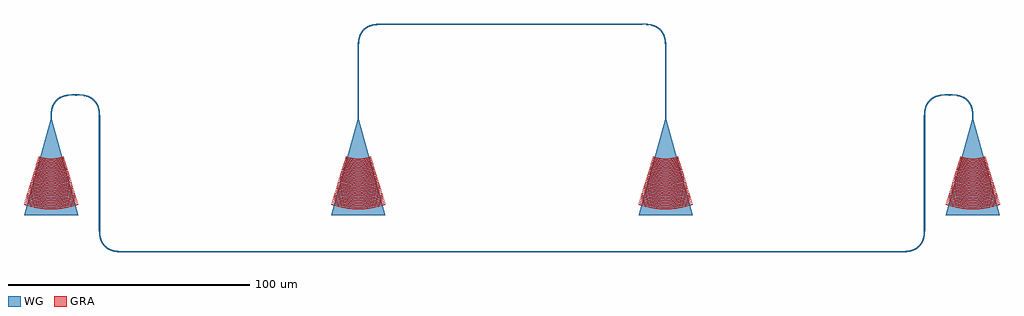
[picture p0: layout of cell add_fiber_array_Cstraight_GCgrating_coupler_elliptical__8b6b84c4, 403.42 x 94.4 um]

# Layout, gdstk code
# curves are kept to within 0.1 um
from math import pi, radians
import gdstk
lib = gdstk.Library(unit=1e-6, precision=1e-09)
def R(c, l, rs):  # rectangles x0, y0, x1, y1
    for r in rs: c.add(gdstk.rectangle(r[:2], r[2:], *l))
def P(c, l, *ps):  # polygons
    for p in ps: c.add(gdstk.Polygon(p, *l))
WG = (3, 0)
GRA = (6, 0)

straight_l10_csstrip_cba = lib.new_cell('straight_L10_CSstrip_cband_WNone_N2')
R(straight_l10_csstrip_cba, WG, [(0,-0.225,10,0.225)])

grating_coupler_elliptic = lib.new_cell('grating_coupler_elliptical_W1p55_GLW0p35_CSstrip_cband')
P(grating_coupler_elliptic, WG, [(41.05,-11.171),(1.3,-0.225),(1.3,0.225),(41.05,11.171)])
P(grating_coupler_elliptic, GRA, [(16.878,-5.26),(16.757,-5.1),(17.151,-3.825),(17.473,-2.258),(17.595,-1.199),(17.642,-0.134),(17.614,0.933),(17.511,1.994),(17.216,3.566),(16.757,5.1),(16.878,5.26),(17.073,5.21),(17.404,4.172),(17.661,3.113),(17.905,1.496),(17.976,0.136),(17.905,-1.496),(17.661,-3.113),(17.404,-4.172),(17.073,-5.21)],
  [(17.529,-5.459),(17.408,-5.299),(17.817,-3.974),(18.151,-2.346),(18.278,-1.245),(18.326,-0.139),(18.298,0.969),(18.151,2.346),(17.817,3.974),(17.408,5.299),(17.529,5.459),(17.724,5.409),(18.067,4.331),(18.334,3.231),(18.587,1.553),(18.662,0.141),(18.587,-1.553),(18.334,-3.231),(18.067,-4.331),(17.724,-5.409)],
  [(18.179,-5.657),(18.058,-5.497),(18.483,-4.122),(18.829,-2.433),(18.961,-1.292),(19.012,-0.144),(18.982,1.005),(18.87,2.149),(18.553,3.843),(18.058,5.497),(18.179,5.657),(18.374,5.607),(18.73,4.49),(19.007,3.35),(19.27,1.61),(19.347,0.146),(19.27,-1.61),(19.007,-3.35),(18.73,-4.49),(18.374,-5.607)],
  [(18.83,-5.855),(18.709,-5.695),(19.149,-4.271),(19.508,-2.521),(19.644,-1.339),(19.696,-0.149),(19.666,1.042),(19.508,2.521),(19.149,4.271),(18.709,5.695),(18.83,5.855),(19.025,5.805),(19.393,4.648),(19.68,3.468),(19.952,1.667),(20.032,0.151),(19.952,-1.667),(19.68,-3.468),(19.393,-4.648),(19.025,-5.805)],
  [(19.481,-6.053),(19.36,-5.893),(19.89,-4.121),(20.186,-2.609),(20.328,-1.385),(20.382,-0.155),(20.328,1.385),(20.186,2.609),(19.89,4.121),(19.36,5.893),(19.481,6.053),(19.676,6.003),(20.056,4.807),(20.353,3.587),(20.634,1.724),(20.716,0.157),(20.634,-1.724),(20.353,-3.587),(20.056,-4.807),(19.676,-6.003)],
  [(20.131,-6.252),(20.01,-6.092),(20.481,-4.568),(20.865,-2.697),(21.011,-1.432),(21.066,-0.16),(21.011,1.432),(20.865,2.697),(20.481,4.568),(20.01,6.092),(20.131,6.252),(20.326,6.202),(20.72,4.966),(21.026,3.705),(21.316,1.781),(21.402,0.162),(21.316,-1.781),(21.026,-3.705),(20.72,-4.966),(20.326,-6.202)],
  [(20.782,-6.45),(20.661,-6.29),(21.227,-4.397),(21.543,-2.785),(21.694,-1.478),(21.752,-0.164),(21.694,1.478),(21.543,2.785),(21.227,4.397),(20.661,6.29),(20.782,6.45),(20.977,6.4),(21.383,5.125),(21.699,3.824),(21.999,1.838),(22.086,0.168),(21.999,-1.838),(21.699,-3.824),(21.383,-5.125),(20.977,-6.4)],
  [(21.432,-6.648),(21.311,-6.488),(21.812,-4.866),(22.222,-2.872),(22.377,-1.525),(22.436,-0.17),(22.401,1.187),(22.222,2.872),(21.812,4.866),(21.311,6.488),(21.432,6.648),(21.627,6.598),(21.741,6.274),(22.046,5.283),(22.372,3.942),(22.681,1.895),(22.772,0.172),(22.681,-1.895),(22.372,-3.942),(22.046,-5.283),(21.741,-6.274),(21.627,-6.598)],
  [(22.083,-6.847),(21.962,-6.687),(22.478,-5.015),(22.9,-2.96),(23.06,-1.572),(23.122,-0.175),(23.085,1.223),(22.9,2.96),(22.478,5.015),(21.962,6.687),(22.083,6.847),(22.278,6.797),(22.395,6.462),(22.802,5.099),(23.044,4.06),(23.363,1.952),(23.456,0.177),(23.363,-1.952),(23.113,-3.711),(22.802,-5.099),(22.395,-6.462),(22.278,-6.797)],
  [(22.733,-7.045),(22.612,-6.885),(23.232,-4.814),(23.578,-3.048),(23.743,-1.618),(23.806,-0.18),(23.769,1.259),(23.578,3.048),(23.232,4.814),(22.612,6.885),(22.733,7.045),(22.928,6.995),(23.049,6.651),(23.468,5.247),(23.717,4.179),(24.045,2.009),(24.142,0.182),(24.045,-2.009),(23.788,-3.82),(23.558,-4.892),(23.163,-6.303),(22.928,-6.995)],
  [(23.384,-7.243),(23.263,-7.083),(23.81,-5.312),(24.257,-3.136),(24.426,-1.665),(24.491,-0.186),(24.453,1.295),(24.257,3.136),(23.81,5.312),(23.263,7.083),(23.384,7.243),(23.579,7.193),(23.703,6.839),(24.134,5.396),(24.39,4.297),(24.728,2.066),(24.826,0.188),(24.728,-2.066),(24.463,-3.928),(24.226,-5.031),(23.82,-6.481),(23.579,-7.193)],
  [(24.035,-7.441),(23.914,-7.281),(24.476,-5.461),(24.876,-3.599),(25.11,-1.711),(25.176,-0.19),(25.137,1.332),(24.935,3.224),(24.569,5.092),(23.914,7.281),(24.035,7.441),(24.23,7.391),(24.357,7.028),(24.8,5.545),(25.063,4.416),(25.41,2.122),(25.512,0.194),(25.41,-2.122),(25.138,-4.036),(24.895,-5.17),(24.478,-6.66),(24.23,-7.391)],
  [(24.685,-7.64),(24.564,-7.48),(25.142,-5.61),(25.614,-3.311),(25.793,-1.758),(25.862,-0.196),(25.793,1.758),(25.614,3.311),(25.142,5.61),(24.564,7.48),(24.685,7.64),(24.88,7.59),(25.011,7.216),(25.466,5.694),(25.736,4.534),(26.092,2.179),(26.196,0.198),(26.127,-1.784),(25.813,-4.144),(25.466,-5.694),(25.135,-6.839),(24.88,-7.59)],
  [(25.336,-7.838),(25.215,-7.678),(25.808,-5.758),(26.292,-3.399),(26.476,-1.805),(26.546,-0.201),(26.476,1.805),(26.292,3.399),(25.808,5.758),(25.215,7.678),(25.336,7.838),(25.531,7.788),(25.665,7.405),(26.132,5.842),(26.409,4.653),(26.731,2.641),(26.882,0.203),(26.81,-1.831),(26.488,-4.253),(26.132,-5.842),(25.792,-7.017),(25.531,-7.788)],
  [(25.986,-8.036),(25.865,-7.876),(26.474,-5.907),(26.906,-3.894),(27.123,-2.261),(27.232,-0.206),(27.159,1.851),(26.97,3.487),(26.474,5.907),(25.865,7.876),(25.986,8.036),(26.181,7.986),(26.319,7.593),(26.798,5.991),(27.082,4.771),(27.457,2.293),(27.566,0.208),(27.457,-2.293),(27.163,-4.361),(26.9,-5.586),(26.449,-7.196),(26.181,-7.986)],
  [(26.637,-8.235),(26.516,-8.075),(27.139,-6.056),(27.583,-3.992),(27.805,-2.318),(27.916,-0.212),(27.872,1.477),(27.649,3.575),(27.427,4.821),(27.139,6.056),(26.516,8.075),(26.637,8.235),(26.832,8.185),(26.973,7.782),(27.463,6.14),(27.755,4.889),(27.981,3.625),(28.139,2.35),(28.252,0.214),(28.229,-1.069),(28.139,-2.35),(27.838,-4.469),(27.568,-5.725),(27.106,-7.374),(26.832,-8.185)],
  [(27.288,-8.433),(27.167,-8.273),(27.805,-6.204),(28.259,-4.09),(28.487,-2.375),(28.602,-0.216),(28.556,1.513),(28.327,3.663),(27.911,5.784),(27.571,7.038),(27.167,8.273),(27.288,8.433),(27.483,8.383),(27.627,7.97),(28.129,6.288),(28.428,5.008),(28.659,3.713),(28.821,2.407),(28.936,0.22),(28.913,-1.095),(28.821,-2.407),(28.513,-4.577),(28.237,-5.864),(27.764,-7.553),(27.483,-8.383)],
  [(27.938,-8.631),(27.817,-8.471),(28.471,-6.353),(28.936,-4.188),(29.208,-1.991),(29.286,-0.221),(29.24,1.549),(29.006,3.75),(28.773,5.058),(28.471,6.353),(27.817,8.471),(27.938,8.631),(28.133,8.581),(28.281,8.159),(28.678,6.871),(29.101,5.126),(29.338,3.8),(29.503,2.464),(29.622,0.225),(29.597,-1.121),(29.503,-2.464),(29.188,-4.686),(28.905,-6.002),(28.421,-7.732),(28.133,-8.581)],
  [(28.589,-8.829),(28.468,-8.669),(29.137,-6.502),(29.613,-4.286),(29.892,-2.038),(29.972,-0.227),(29.892,2.038),(29.684,3.838),(29.248,6.062),(28.893,7.375),(28.468,8.669),(28.589,8.829),(28.784,8.779),(28.935,8.347),(29.341,7.03),(29.774,5.245),(30.016,3.888),(30.185,2.521),(30.306,0.229),(30.226,-2.064),(30.08,-3.433),(29.863,-4.794),(29.574,-6.14),(29.078,-7.91),(28.784,-8.779)],
  [(29.239,-9.028),(29.118,-8.868),(29.803,-6.651),(30.29,-4.384),(30.575,-2.084),(30.656,-0.232),(30.608,1.622),(30.362,3.926),(30.119,5.295),(29.803,6.651),(29.118,8.868),(29.239,9.028),(29.434,8.978),(29.589,8.536),(30.127,6.735),(30.447,5.363),(30.694,3.976),(30.868,2.578),(30.992,0.234),(30.966,-1.173),(30.868,-2.578),(30.538,-4.902),(30.242,-6.279),(29.735,-8.089),(29.434,-8.978)],
  [(29.89,-9.226),(29.769,-9.066),(30.469,-6.799),(30.966,-4.482),(31.258,-2.131),(31.342,-0.237),(31.292,1.658),(31.041,4.014),(30.792,5.414),(30.469,6.799),(29.769,9.066),(29.89,9.226),(30.085,9.176),(30.243,8.724),(30.793,6.883),(31.12,5.482),(31.373,4.064),(31.55,2.635),(31.676,0.239),(31.651,-1.199),(31.55,-2.635),(31.213,-5.01),(30.91,-6.419),(30.393,-8.267),(30.085,-9.176)],
  [(30.54,-9.424),(30.419,-9.264),(31.135,-6.948),(31.643,-4.58),(31.941,-2.177),(32.027,-0.242),(31.941,2.177),(31.719,4.102),(31.465,5.532),(31.135,6.948),(30.419,9.264),(30.54,9.424),(30.735,9.374),(30.897,8.913),(31.459,7.032),(31.793,5.6),(32.051,4.152),(32.232,2.692),(32.362,0.246),(32.335,-1.225),(32.232,-2.692),(31.888,-5.119),(31.579,-6.557),(31.05,-8.446),(30.735,-9.374)],
  [(31.191,-9.623),(31.07,-9.463),(31.801,-7.097),(32.32,-4.678),(32.624,-2.224),(32.712,-0.247),(32.659,1.731),(32.398,4.189),(32.138,5.65),(31.801,7.097),(31.07,9.463),(31.191,9.623),(31.386,9.573),(31.707,8.625),(32.125,7.181),(32.466,5.718),(32.73,4.239),(32.914,2.749),(33.046,0.251),(32.958,-2.25),(32.8,-3.744),(32.563,-5.227),(32.125,-7.181),(31.707,-8.625),(31.386,-9.573)],
  [(31.842,-9.821),(31.721,-9.661),(32.467,-7.246),(32.997,-4.776),(33.263,-2.774),(33.396,-0.253),(33.343,1.767),(33.076,4.277),(32.811,5.769),(32.467,7.246),(31.721,9.661),(31.842,9.821),(32.037,9.771),(32.364,8.803),(32.791,7.33),(33.139,5.837),(33.408,4.327),(33.597,2.806),(33.731,0.255),(33.704,-1.277),(33.597,-2.806),(33.238,-5.335),(32.791,-7.33),(32.364,-8.803),(32.037,-9.771)],
  [(32.492,-10.019),(32.371,-9.859),(33.132,-7.394),(33.674,-4.874),(33.991,-2.317),(34.082,-0.258),(33.991,2.317),(33.754,4.365),(33.484,5.887),(33.132,7.394),(32.371,9.859),(32.492,10.019),(32.687,9.969),(33.022,8.982),(33.584,6.973),(33.913,5.443),(34.279,2.863),(34.416,0.26),(34.325,-2.343),(34.159,-3.899),(33.913,-5.443),(33.584,-6.973),(33.022,-8.982),(32.687,-9.969)],
  [(33.143,-10.217),(33.022,-10.057),(33.798,-7.543),(34.35,-4.972),(34.674,-2.364),(34.766,-0.263),(34.674,2.364),(34.433,4.453),(33.927,7.032),(33.515,8.556),(33.022,10.057),(33.143,10.217),(33.338,10.167),(33.679,9.161),(34.253,7.112),(34.588,5.552),(34.961,2.92),(35.101,0.265),(35.008,-2.39),(34.839,-3.976),(34.588,-5.552),(34.253,-7.112),(33.679,-9.161),(33.338,-10.167)],
  [(33.793,-10.416),(33.672,-10.256),(34.464,-7.692),(35.027,-5.07),(35.357,-2.41),(35.452,-0.268),(35.395,1.876),(35.111,4.541),(34.595,7.172),(34.175,8.725),(33.672,10.256),(33.793,10.416),(33.988,10.366),(34.336,9.339),(34.921,7.25),(35.263,5.66),(35.643,2.976),(35.786,0.272),(35.691,-2.436),(35.519,-4.054),(35.263,-5.66),(34.921,-7.25),(34.336,-9.339),(33.988,-10.366)],
  [(34.444,-10.614),(34.323,-10.454),(35.13,-7.84),(35.704,-5.168),(35.992,-3.001),(36.137,-0.273),(36.079,1.912),(35.79,4.628),(35.503,6.243),(35.13,7.84),(34.323,10.454),(34.444,10.614),(34.639,10.564),(34.993,9.518),(35.454,7.924),(35.938,5.768),(36.326,3.033),(36.472,0.277),(36.442,-1.38),(36.326,-3.033),(35.938,-5.768),(35.454,-7.924),(34.993,-9.518),(34.639,-10.564)],
  [(35.095,-10.812),(34.974,-10.652),(35.796,-7.989),(36.381,-5.266),(36.723,-2.504),(36.822,-0.279),(36.763,1.948),(36.468,4.716),(35.932,7.449),(35.496,9.062),(34.974,10.652),(35.095,10.812),(35.29,10.762),(35.65,9.696),(36.12,8.073),(36.504,6.429),(36.8,4.766),(37.008,3.09),(37.156,0.281),(37.126,-1.406),(37.008,-3.09),(36.612,-5.876),(36.258,-7.527),(35.816,-9.158),(35.29,-10.762)],
  [(35.745,-11.01),(35.624,-10.85),(36.462,-8.138),(37.057,-5.364),(37.406,-2.55),(37.506,-0.284),(37.446,1.984),(37.147,4.804),(36.849,6.479),(36.462,8.138),(35.624,10.85),(35.745,11.01),(35.94,10.96),(36.308,9.875),(36.926,7.666),(37.287,5.985),(37.69,3.147),(37.841,0.286),(37.811,-1.432),(37.69,-3.147),(37.287,-5.985),(36.926,-7.666),(36.308,-9.875),(35.94,-10.96)],
  [(36.396,-11.209),(36.275,-11.049),(37.128,-8.287),(37.734,-5.462),(38.089,-2.597),(38.192,-0.288),(38.13,2.021),(37.825,4.892),(37.521,6.598),(37.128,8.287),(36.275,11.049),(36.396,11.209),(36.591,11.159),(36.965,10.054),(37.595,7.805),(37.962,6.093),(38.372,3.204),(38.526,0.292),(38.495,-1.458),(38.372,-3.204),(37.962,-6.093),(37.595,-7.805),(36.965,-10.054),(36.591,-11.159)])

bend_euler_rnone_a90_p0p = lib.new_cell('bend_euler_RNone_A90_P0p5_WNone_CSstrip_cband_AMRVFalse')
P(bend_euler_rnone_a90_p0p, WG, [(0,-0.225),(0,0.225),(1.656,0.244),(3.019,0.344),(4.09,0.525),(4.998,0.782),(5.742,1.091),(6.444,1.484),(7.592,2.408),(8.516,3.556),(8.909,4.258),(9.218,5.002),(9.475,5.91),(9.656,6.981),(9.756,8.344),(9.775,10),(10.225,10),(10.133,7.208),(9.999,6.229),(9.773,5.261),(9.434,4.322),(9.044,3.557),(8.568,2.844),(7.911,2.089),(7.156,1.432),(6.443,0.956),(5.678,0.566),(4.739,0.227),(3.771,0.001),(2.792,-0.133)])

straight_l48p5_csstrip_c = lib.new_cell('straight_L48p5_CSstrip_cband_W0p45_N2')
R(straight_l48p5_csstrip_c, WG, [(0,-0.225,48.5,0.225)])

straight_l29p2_csstrip_c = lib.new_cell('straight_L29p2_CSstrip_cband_W0p45_N2')
R(straight_l29p2_csstrip_c, WG, [(0,-0.225,29.2,0.225)])

straight_l44p75_csstrip_ = lib.new_cell('straight_L44p75_CSstrip_cband_W0p45_N2')
R(straight_l44p75_csstrip_, WG, [(0,-0.225,44.75,0.225)])

straight_l321_csstrip_cb = lib.new_cell('straight_L321_CSstrip_cband_W0p45_N2')
R(straight_l321_csstrip_cb, WG, [(0,-0.225,321,0.225)])

add_fiber_array_cstraigh = lib.new_cell('add_fiber_array_Cstraight_GCgrating_coupler_elliptical__8b6b84c4')
add_fiber_array_cstraigh.add(gdstk.Reference(straight_l10_csstrip_cba, (0,0)))
add_fiber_array_cstraigh.add(gdstk.Reference(grating_coupler_elliptic, (-58.5,-37.9), rotation=3*pi/2))
add_fiber_array_cstraigh.add(gdstk.Reference(grating_coupler_elliptic, (68.5,-37.9), rotation=3*pi/2))
add_fiber_array_cstraigh.add(gdstk.Reference(grating_coupler_elliptic, (-185.5,-37.9), rotation=3*pi/2))
add_fiber_array_cstraigh.add(gdstk.Reference(grating_coupler_elliptic, (195.5,-37.9), rotation=3*pi/2))
add_fiber_array_cstraigh.add(gdstk.Reference(bend_euler_rnone_a90_p0p, (-58.5,-10), rotation=pi/2, x_reflection=True))
add_fiber_array_cstraigh.add(gdstk.Reference(straight_l48p5_csstrip_c, (0,0), rotation=pi))
add_fiber_array_cstraigh.add(gdstk.Reference(straight_l29p2_csstrip_c, (-58.5,-10), rotation=3*pi/2))
add_fiber_array_cstraigh.add(gdstk.Reference(bend_euler_rnone_a90_p0p, (68.5,-10), rotation=pi/2))
add_fiber_array_cstraigh.add(gdstk.Reference(straight_l48p5_csstrip_c, (10,0)))
add_fiber_array_cstraigh.add(gdstk.Reference(straight_l29p2_csstrip_c, (68.5,-10), rotation=3*pi/2))
add_fiber_array_cstraigh.add(gdstk.Reference(bend_euler_rnone_a90_p0p, (-175.5,-29.2), rotation=pi))
add_fiber_array_cstraigh.add(gdstk.Reference(bend_euler_rnone_a90_p0p, (-165.5,-39.2), rotation=pi/2))
add_fiber_array_cstraigh.add(gdstk.Reference(bend_euler_rnone_a90_p0p, (-155.5,-93.95), rotation=pi, x_reflection=True))
add_fiber_array_cstraigh.add(gdstk.Reference(straight_l44p75_csstrip_, (-165.5,-39.2), rotation=3*pi/2))
add_fiber_array_cstraigh.add(gdstk.Reference(bend_euler_rnone_a90_p0p, (175.5,-83.95), rotation=3*pi/2, x_reflection=True))
add_fiber_array_cstraigh.add(gdstk.Reference(straight_l321_csstrip_cb, (-155.5,-93.95)))
add_fiber_array_cstraigh.add(gdstk.Reference(bend_euler_rnone_a90_p0p, (185.5,-29.2), rotation=pi))
add_fiber_array_cstraigh.add(gdstk.Reference(straight_l44p75_csstrip_, (175.5,-83.95), rotation=pi/2))
add_fiber_array_cstraigh.add(gdstk.Reference(bend_euler_rnone_a90_p0p, (195.5,-39.2), rotation=pi/2))

lib.write_gds('add_fiber_array_Cstraight_GCgrating_coupler_elliptical__8b6b84c4.gds')
